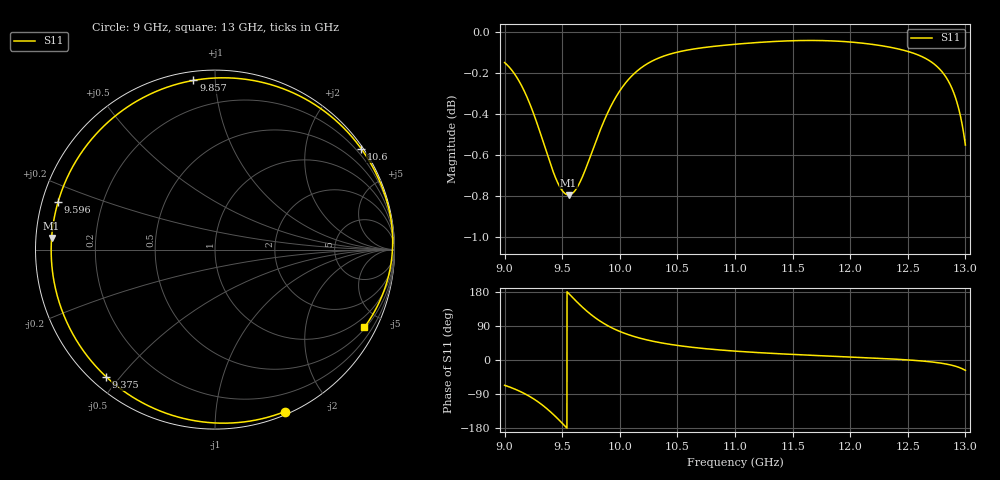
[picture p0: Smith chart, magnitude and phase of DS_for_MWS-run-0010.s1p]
! TOUCHSTONE file generated by CST DESIGN STUDIO
! Date and time: Tue Feb  4 17:23:00 2025
! Project name: C:\Work\MatlabApps\UnitCellOptimizationMatlab\CST\unitcell.cst
! Tree item: Tasks\Sweep1\SPara1\S-Parameters
! Header version: 2024
! Port assignment regex: !\s*Touchstone port\s*([0-9]+)\s*=\s*(CST MWS port|CST DES external port|CST DES block port)\s*(.+)\s* \(\"(.*)\"\)(\s*mode\s*([0-9]+))?.*
! Touchstone port assignment:
! Touchstone port 1 = CST DES external port 1 ("")
# GHz S MA R 50
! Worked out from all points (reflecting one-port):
!   4001 points, 9 GHz to 13 GHz, reference 50 ohm
!   lowest |S11| = -0.8 dB at 9.555 GHz (marker M1), VSWR 21.89, Z = 2.29 + j1.79 ohm
!   phase of S11 starts at -67 deg and turns -321 deg over the sweep
!   S11 on the Smith chart (normalised r, x): 9 GHz: 0.03, -1.52; 9.375 GHz: 0.04, -0.46; 9.596 GHz: 0.05, +0.15; 9.857 GHz: 0.05, +0.88; 10.6 GHz: 0.06, +3.21; 13 GHz: 0.56, -4.02
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9  0.9828 -66.7
9.107  0.9746 -79.1
9.222  0.9599 -97.0
9.302  0.9463 -113.0
9.375  0.9327 -130.6
9.443  0.9213 -149.5
9.5  0.9149 -166.8
9.555  0.9126 175.9
9.596  0.9138 163.0
9.663  0.9203 142.9
9.724  0.9292 126.4
9.787  0.9395 111.4
9.857  0.9504 97.2
9.922  0.959 86.3
10  0.9674 75.4
10.102  0.9754 64.1
10.216  0.9813 54.4
10.346  0.9855 46.0
10.5  0.9886 38.4
10.598  0.9898 34.6
11  0.9929 23.5
11.5  0.9949 14.7
12  0.9942 8.0
12.5  0.989 0.2
12.678  0.9842 -4.2
12.811  0.9767 -9.4
12.909  0.9646 -16.0
13  0.9385 -27.4
